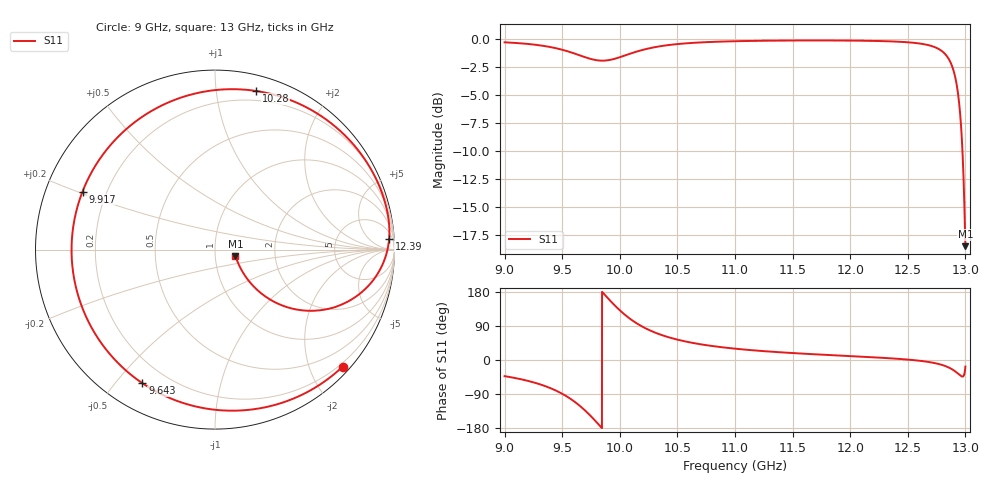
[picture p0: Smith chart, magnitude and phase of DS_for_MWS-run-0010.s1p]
! TOUCHSTONE file generated by CST DESIGN STUDIO
! Date and time: Tue Feb  4 14:32:51 2025
! Project name: C:\Work\MatlabApps\UnitCellOptimizationMatlab\CST\unitcell.cst
! Tree item: Tasks\Sweep1\SPara1\S-Parameters
! Header version: 2024
! Port assignment regex: !\s*Touchstone port\s*([0-9]+)\s*=\s*(CST MWS port|CST DES external port|CST DES block port)\s*(.+)\s* \(\"(.*)\"\)(\s*mode\s*([0-9]+))?.*
! Touchstone port assignment:
! Touchstone port 1 = CST DES external port 1 ("")
# GHz S MA R 50
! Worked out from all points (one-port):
!   4001 points, 9 GHz to 13 GHz, reference 50 ohm
!   lowest |S11| = -18.5 dB at 13 GHz (marker M1), VSWR 1.27, Z = 62.7 - j4.54 ohm
!   |S11| at or under -10 dB: 12.9746 GHz to end of sweep
!   S11 on the Smith chart (normalised r, x): 9 GHz: 0.14, -2.56; 9.643 GHz: 0.11, -0.59; 9.917 GHz: 0.11, +0.21; 10.28 GHz: 0.12, +1.28; 12.39 GHz: 12, +26; 13 GHz: 1.25, -0.09
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9  0.9646 -42.6
9.278  0.9393 -61.4
9.393  0.9197 -73.7
9.5  0.8939 -89.1
9.576  0.8704 -103.3
9.643  0.8473 -118.5
9.716  0.8226 -138.3
9.794  0.8037 -162.7
9.855  0.7993 176.9
9.917  0.8058 156.3
10  0.8279 131.2
10.06  0.8483 115.5
10.124  0.87 101.3
10.281  0.913 75.5
10.5  0.9474 53.7
10.716  0.9645 40.8
11  0.9755 29.9
11.5  0.9826 18.3
12  0.9819 10.3
12.392  0.9722 3.6
12.5  0.965 1.1
12.763  0.9039 -10.1
12.836  0.8412 -17.2
12.891  0.7391 -25.8
12.926  0.6178 -33.5
12.953  0.4726 -40.3
12.97  0.3524 -43.5
13  0.1193 -17.4
